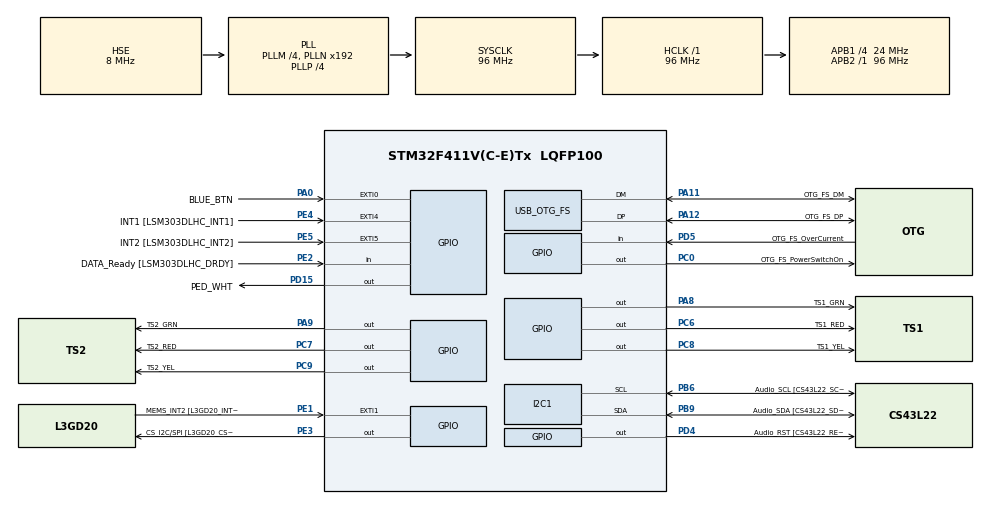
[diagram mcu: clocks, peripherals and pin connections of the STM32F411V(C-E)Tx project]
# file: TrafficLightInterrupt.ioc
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FREERTOS.Tasks01=defaultTask,0,128,StartDefaultTask,Default,NULL
FREERTOS.configTIMER_TASK_PRIORITY=5
FREERTOS.configUSE_TIMERS=1
Mcu.Family=STM32F4
Mcu.Name=STM32F411V(C-E)Tx
Mcu.Package=LQFP100
NVIC.EXTI0_IRQn=true\:10\:0\:true\:false\:true\:true\:true
NVIC.OTG_FS_IRQn=true\:5\:0\:false\:false\:true\:true\:true
NVIC.PriorityGroup=NVIC_PRIORITYGROUP_4
NVIC.TIM1_UP_TIM10_IRQn=true\:0\:0\:false\:false\:true\:false\:false
NVIC.TimeBase=TIM1_UP_TIM10_IRQn
NVIC.TimeBaseIP=TIM1
PA0-WKUP.GPIO_Label=BLUE_BTN
PA0-WKUP.GPIO_ModeDefaultEXTI=GPIO_MODE_IT_RISING
PA0-WKUP.Signal=GPXTI0
PA10.GPIO_Label=OTG_FS_ID
PA10.Signal=USB_OTG_FS_ID
PA11.GPIO_Label=OTG_FS_DM
PA11.Mode=Host_Only
PA11.Signal=USB_OTG_FS_DM
PA12.GPIO_Label=OTG_FS_DP
PA12.Mode=Host_Only
PA12.Signal=USB_OTG_FS_DP
PA13.GPIO_Label=SWDIO
PA13.Mode=Serial_Wire
PA13.Signal=SYS_JTMS-SWDIO
PA14.GPIO_Label=SWCLK
PA14.Mode=Serial_Wire
PA14.Signal=SYS_JTCK-SWCLK
PA8.GPIO_Label=TS1_GRN
PA8.Signal=GPIO_Output
PA9.GPIO_Label=TS2_GRN
PA9.Signal=GPIO_Output
PB10.GPIO_Label=CLK_IN [MP45DT02_CLK]
PB10.Signal=I2S2_CK
PB3.GPIO_Label=SWO
PB3.Signal=SYS_JTDO-SWO
PB6.GPIO_Label=Audio_SCL [CS43L22_SCL]
PB6.GPIO_Mode=GPIO_MODE_AF_OD
PB6.GPIO_PuPd=GPIO_NOPULL
PB6.GPIO_Speed=GPIO_SPEED_FREQ_LOW
PB6.Mode=I2C
PB6.Signal=I2C1_SCL
PB9.GPIO_Label=Audio_SDA [CS43L22_SDA]
PB9.GPIO_Mode=GPIO_MODE_AF_OD
PB9.GPIO_PuPd=GPIO_NOPULL
PB9.GPIO_Speed=GPIO_SPEED_FREQ_LOW
PB9.Mode=I2C
PB9.Signal=I2C1_SDA
PC0.GPIO_Label=OTG_FS_PowerSwitchOn
PC0.PinState=GPIO_PIN_SET
PC0.Signal=GPIO_Output
PC10.GPIO_Label=I2S3_SCK [CS43L22_SCLK]
PC10.GPIO_Mode=GPIO_MODE_AF_PP
PC10.GPIO_PuPd=GPIO_NOPULL
PC10.GPIO_Speed=GPIO_SPEED_FREQ_LOW
PC10.Signal=I2S3_CK
PC12.GPIO_Label=I2S3_SD [CS43L22_SDIN]
PC12.GPIO_Mode=GPIO_MODE_AF_PP
PC12.GPIO_PuPd=GPIO_NOPULL
PC12.GPIO_Speed=GPIO_SPEED_FREQ_LOW
PC12.Signal=I2S3_SD
PC14-OSC32_IN.GPIO_Label=PC14-OSC32_IN
PC14-OSC32_IN.Mode=LSE-External-Oscillator
PC14-OSC32_IN.Signal=RCC_OSC32_IN
PC15-OSC32_OUT.GPIO_Label=PC15-OSC32_OUT
PC15-OSC32_OUT.Mode=LSE-External-Oscillator
PC15-OSC32_OUT.Signal=RCC_OSC32_OUT
PC3.GPIO_Label=PDM_OUT [MP45DT02_DOUT]
PC3.Signal=I2S2_SD
PC6.GPIO_Label=TS1_RED
PC6.Signal=GPIO_Output
PC7.GPIO_Label=TS2_RED
PC7.Signal=GPIO_Output
PC8.GPIO_Label=TS1_YEL
PC8.Signal=GPIO_Output
PC9.GPIO_Label=TS2_YEL
PC9.Signal=GPIO_Output
PD15.GPIO_Label=PED_WHT
PD15.Signal=GPIO_Output
PD4.GPIO_Label=Audio_RST [CS43L22_RESET]
PD4.Signal=GPIO_Output
PD5.GPIO_Label=OTG_FS_OverCurrent
PD5.Signal=GPIO_Input
PE1.GPIO_Label=MEMS_INT2 [L3GD20_INT2]
PE1.GPIO_ModeDefaultEXTI=GPIO_MODE_EVT_RISING
PE1.Signal=GPXTI1
PE2.GPIO_Label=DATA_Ready [LSM303DLHC_DRDY]
PE2.Signal=GPIO_Input
PE3.GPIO_Label=CS_I2C/SPI [L3GD20_CS_I2C/SPI]
PE3.Signal=GPIO_Output
PE4.GPIO_Label=INT1 [LSM303DLHC_INT1]
PE4.GPIO_ModeDefaultEXTI=GPIO_MODE_EVT_RISING
PE4.Signal=GPXTI4
PE5.GPIO_Label=INT2 [LSM303DLHC_INT2]
PE5.GPIO_ModeDefaultEXTI=GPIO_MODE_EVT_RISING
PE5.Signal=GPXTI5
PH0\ -\ OSC_IN.GPIO_Label=PH0-OSC_IN
PH0\ -\ OSC_IN.Mode=HSE-External-Oscillator
PH0\ -\ OSC_IN.Signal=RCC_OSC_IN
PH1\ -\ OSC_OUT.GPIO_Label=PH1-OSC_OUT
PH1\ -\ OSC_OUT.Mode=HSE-External-Oscillator
PH1\ -\ OSC_OUT.Signal=RCC_OSC_OUT
ProjectManager.HeapSize=0x200
ProjectManager.StackSize=0x400
ProjectManager.TargetToolchain=TrueSTUDIO
RCC.48MHZClocksFreq_Value=48000000
RCC.AHBFreq_Value=96000000
RCC.APB1CLKDivider=RCC_HCLK_DIV4
RCC.APB1Freq_Value=24000000
RCC.APB1TimFreq_Value=48000000
RCC.APB2Freq_Value=96000000
RCC.APB2TimFreq_Value=96000000
RCC.CortexFreq_Value=96000000
RCC.HCLKFreq_Value=96000000
RCC.HSE_VALUE=8000000
RCC.HSI_VALUE=16000000
RCC.PLLI2SM=5
RCC.PLLI2SN=200
RCC.PLLM=4
RCC.PLLP=RCC_PLLP_DIV4
RCC.PLLQ=8
RCC.SYSCLKFreq_VALUE=96000000
RCC.SYSCLKSource=RCC_SYSCLKSOURCE_PLLCLK
RCC.VCOOutputFreq_Value=384000000
USB_OTG_FS.VirtualMode=Host_Only
USB_OTG_FS.phy_itface=HCD_PHY_EMBEDDED
VP_FREERTOS_VS_ENABLE.Mode=Enabled
VP_SYS_VS_tim1.Mode=TIM1
board=32F411EDISCOVERY

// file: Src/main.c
/**
  ******************************************************************************
  * @file           : main.c
  * @brief          : Main program body
  ******************************************************************************
  * This notice applies to any and all portions of this file
  * that are not between comment pairs USER CODE BEGIN and
  * USER CODE END. Other portions of this file, whether
  * inserted by the user or by software development tools
  * are owned by their respective copyright owners.
  *
  * Copyright (c) 2018 STMicroelectronics International N.V.
  * All rights reserved.
  *
  * Redistribution and use in source and binary forms, with or without
  * modification, are permitted, provided that the following conditions are met:
  *
  * 1. Redistribution of source code must retain the above copyright notice,
  *    this list of conditions and the following disclaimer.
  * 2. Redistributions in binary form must reproduce the above copyright notice,
  *    this list of conditions and the following disclaimer in the documentation
  *    and/or other materials provided with the distribution.
  * 3. Neither the name of STMicroelectronics nor the names of other
  *    contributors to this software may be used to endorse or promote products
  *    derived from this software without specific written permission.
  * 4. This software, including modifications and/or derivative works of this
  *    software, must execute solely and exclusively on microcontroller or
  *    microprocessor devices manufactured by or for STMicroelectronics.
  * 5. Redistribution and use of this software other than as permitted under
  *    this license is void and will automatically terminate your rights under
  *    this license.
  *
  * THIS SOFTWARE IS PROVIDED BY STMICROELECTRONICS AND CONTRIBUTORS "AS IS"
  * AND ANY EXPRESS, IMPLIED OR STATUTORY WARRANTIES, INCLUDING, BUT NOT
  * LIMITED TO, THE IMPLIED WARRANTIES OF MERCHANTABILITY, FITNESS FOR A
  * PARTICULAR PURPOSE AND NON-INFRINGEMENT OF THIRD PARTY INTELLECTUAL PROPERTY
  * RIGHTS ARE DISCLAIMED TO THE FULLEST EXTENT PERMITTED BY LAW. IN NO EVENT
  * SHALL STMICROELECTRONICS OR CONTRIBUTORS BE LIABLE FOR ANY DIRECT, INDIRECT,
  * INCIDENTAL, SPECIAL, EXEMPLARY, OR CONSEQUENTIAL DAMAGES (INCLUDING, BUT NOT
  * LIMITED TO, PROCUREMENT OF SUBSTITUTE GOODS OR SERVICES; LOSS OF USE, DATA,
  * OR PROFITS; OR BUSINESS INTERRUPTION) HOWEVER CAUSED AND ON ANY THEORY OF
  * LIABILITY, WHETHER IN CONTRACT, STRICT LIABILITY, OR TORT (INCLUDING
  * NEGLIGENCE OR OTHERWISE) ARISING IN ANY WAY OUT OF THE USE OF THIS SOFTWARE,
  * EVEN IF ADVISED OF THE POSSIBILITY OF SUCH DAMAGE.
  *
  ******************************************************************************
  */
#include "main.h"
#include "stm32f4xx_hal.h"
#include "cmsis_os.h"

I2C_HandleTypeDef hi2c1;

HCD_HandleTypeDef hhcd_USB_OTG_FS;

osThreadId defaultTaskHandle;

/* USER CODE BEGIN PV */
/* Private variables ---------------------------------------------------------*/

/* USER CODE END PV */

void SystemClock_Config(void);
static void MX_GPIO_Init(void);
static void MX_I2C1_Init(void);
static void MX_USB_OTG_FS_HCD_Init(void);
void StartDefaultTask(void const * argument);

/* USER CODE BEGIN PFP */
/* Private function prototypes -----------------------------------------------*/
static void prvIntTest(void *p);
static void prvIntPedestrian(void *p);
static void prvTaskA(void *p);
static void prvTaskB(void *p);
static void prvDebTimer( TimerHandle_t xTimer );
/* USER CODE END PFP */

/* USER CODE BEGIN 0 */
TaskHandle_t taskA = NULL;
TaskHandle_t taskB = NULL;
TaskHandle_t isr_test = NULL;
TaskHandle_t isr_ped = NULL;
TimerHandle_t debounce_tim = NULL;
SemaphoreHandle_t isr = NULL;
SemaphoreHandle_t lock = NULL;
SemaphoreHandle_t s1 = NULL;
SemaphoreHandle_t s2 = NULL;
BaseType_t debounce_bool = pdFALSE;
BaseType_t in_task = pdFALSE;
BaseType_t ped_request = pdFALSE;
/* USER CODE END 0 */

int main(void)
{

  /* MCU Configuration----------------------------------------------------------*/

  /* Reset of all peripherals, Initializes the Flash interface and the Systick. */
  HAL_Init();

  /* Configure the system clock */
  SystemClock_Config();

  /* Initialize all configured peripherals */
  MX_GPIO_Init();
  MX_I2C1_Init();
  MX_USB_OTG_FS_HCD_Init();
  /* USER CODE BEGIN 2 */
  xTaskCreate(prvIntPedestrian, "PedestrianBlinker", configMINIMAL_STACK_SIZE, NULL, 5, &isr_ped);
  xTaskCreate(prvIntTest, "InterruptTest", configMINIMAL_STACK_SIZE, NULL, 5, &isr_test);
  xTaskCreate(prvTaskA, "TaskA", configMINIMAL_STACK_SIZE, NULL, 2, &taskA);
  xTaskCreate(prvTaskB, "TaskB", configMINIMAL_STACK_SIZE, NULL, 2, &taskB);

  vTaskSuspend(isr_test);

  HAL_GPIO_WritePin(TS2_RED_GPIO_Port, TS2_RED_Pin, GPIO_PIN_SET);
  HAL_GPIO_WritePin(TS1_GRN_GPIO_Port, TS1_GRN_Pin, GPIO_PIN_SET);
  /* USER CODE END 2 */

  /* USER CODE BEGIN RTOS_SEMAPHORES */
  /* add semaphores, ... */
  isr = xSemaphoreCreateBinary();
  lock = xSemaphoreCreateBinary();
  s1 = xSemaphoreCreateBinary();
  s2 = xSemaphoreCreateBinary();

  xSemaphoreGive(lock);
  xSemaphoreGive(s1);
  /* USER CODE END RTOS_SEMAPHORES */

  /* USER CODE BEGIN RTOS_TIMERS */
  /* start timers, add new ones, ... */
  debounce_tim = xTimerCreate("deb", pdMS_TO_TICKS(100), (UBaseType_t) pdFALSE, 0, prvDebTimer);
  /* USER CODE END RTOS_TIMERS */

  /* Create the thread(s) */
  /* definition and creation of defaultTask */
  osThreadDef(defaultTask, StartDefaultTask, osPriorityNormal, 0, 128);
  defaultTaskHandle = osThreadCreate(osThread(defaultTask), NULL);

  /* Start scheduler */
  osKernelStart();

  /* We should never get here as control is now taken by the scheduler */

  /* Infinite loop */
  while (1)
  {

  }

}

void SystemClock_Config(void)
{

  RCC_OscInitTypeDef RCC_OscInitStruct;
  RCC_ClkInitTypeDef RCC_ClkInitStruct;

    /**Configure the main internal regulator output voltage
    */
  __HAL_RCC_PWR_CLK_ENABLE();

  __HAL_PWR_VOLTAGESCALING_CONFIG(PWR_REGULATOR_VOLTAGE_SCALE1);

    /**Initializes the CPU, AHB and APB busses clocks
    */
  RCC_OscInitStruct.OscillatorType = RCC_OSCILLATORTYPE_HSE;
  RCC_OscInitStruct.HSEState = RCC_HSE_ON;
  RCC_OscInitStruct.PLL.PLLState = RCC_PLL_ON;
  RCC_OscInitStruct.PLL.PLLSource = RCC_PLLSOURCE_HSE;
  RCC_OscInitStruct.PLL.PLLM = 4;
  RCC_OscInitStruct.PLL.PLLN = 192;
  RCC_OscInitStruct.PLL.PLLP = RCC_PLLP_DIV4;
  RCC_OscInitStruct.PLL.PLLQ = 8;
  if (HAL_RCC_OscConfig(&RCC_OscInitStruct) != HAL_OK)
  {
    _Error_Handler(__FILE__, __LINE__);
  }

    /**Initializes the CPU, AHB and APB busses clocks
    */
  RCC_ClkInitStruct.ClockType = RCC_CLOCKTYPE_HCLK|RCC_CLOCKTYPE_SYSCLK
                              |RCC_CLOCKTYPE_PCLK1|RCC_CLOCKTYPE_PCLK2;
  RCC_ClkInitStruct.SYSCLKSource = RCC_SYSCLKSOURCE_PLLCLK;
  RCC_ClkInitStruct.AHBCLKDivider = RCC_SYSCLK_DIV1;
  RCC_ClkInitStruct.APB1CLKDivider = RCC_HCLK_DIV4;
  RCC_ClkInitStruct.APB2CLKDivider = RCC_HCLK_DIV1;

  if (HAL_RCC_ClockConfig(&RCC_ClkInitStruct, FLASH_LATENCY_3) != HAL_OK)
  {
    _Error_Handler(__FILE__, __LINE__);
  }

    /**Configure the Systick interrupt time
    */
  HAL_SYSTICK_Config(HAL_RCC_GetHCLKFreq()/1000);

    /**Configure the Systick
    */
  HAL_SYSTICK_CLKSourceConfig(SYSTICK_CLKSOURCE_HCLK);

  /* SysTick_IRQn interrupt configuration */
  HAL_NVIC_SetPriority(SysTick_IRQn, 15, 0);
}

/* I2C1 init function */
static void MX_I2C1_Init(void)
{

  hi2c1.Instance = I2C1;
  hi2c1.Init.ClockSpeed = 100000;
  hi2c1.Init.DutyCycle = I2C_DUTYCYCLE_2;
  hi2c1.Init.OwnAddress1 = 0;
  hi2c1.Init.AddressingMode = I2C_ADDRESSINGMODE_7BIT;
  hi2c1.Init.DualAddressMode = I2C_DUALADDRESS_DISABLE;
  hi2c1.Init.OwnAddress2 = 0;
  hi2c1.Init.GeneralCallMode = I2C_GENERALCALL_DISABLE;
  hi2c1.Init.NoStretchMode = I2C_NOSTRETCH_DISABLE;
  if (HAL_I2C_Init(&hi2c1) != HAL_OK)
  {
    _Error_Handler(__FILE__, __LINE__);
  }

}

/* USB_OTG_FS init function */
static void MX_USB_OTG_FS_HCD_Init(void)
{

  hhcd_USB_OTG_FS.Instance = USB_OTG_FS;
  hhcd_USB_OTG_FS.Init.Host_channels = 8;
  hhcd_USB_OTG_FS.Init.speed = HCD_SPEED_FULL;
  hhcd_USB_OTG_FS.Init.dma_enable = DISABLE;
  hhcd_USB_OTG_FS.Init.phy_itface = HCD_PHY_EMBEDDED;
  hhcd_USB_OTG_FS.Init.Sof_enable = DISABLE;
  if (HAL_HCD_Init(&hhcd_USB_OTG_FS) != HAL_OK)
  {
    _Error_Handler(__FILE__, __LINE__);
  }

}

/** Configure pins as
        * Analog
        * Input
        * Output
        * EVENT_OUT
        * EXTI
     PC3   ------> I2S2_SD
     PB10   ------> I2S2_CK
     PC10   ------> I2S3_CK
     PC12   ------> I2S3_SD
*/
static void MX_GPIO_Init(void)
{

  GPIO_InitTypeDef GPIO_InitStruct;

  /* GPIO Ports Clock Enable */
  __HAL_RCC_GPIOE_CLK_ENABLE();
  __HAL_RCC_GPIOC_CLK_ENABLE();
  __HAL_RCC_GPIOH_CLK_ENABLE();
  __HAL_RCC_GPIOA_CLK_ENABLE();
  __HAL_RCC_GPIOB_CLK_ENABLE();
  __HAL_RCC_GPIOD_CLK_ENABLE();

  /*Configure GPIO pin Output Level */
  HAL_GPIO_WritePin(CS_I2C_SPI_GPIO_Port, CS_I2C_SPI_Pin, GPIO_PIN_RESET);

  /*Configure GPIO pin Output Level */
  HAL_GPIO_WritePin(OTG_FS_PowerSwitchOn_GPIO_Port, OTG_FS_PowerSwitchOn_Pin, GPIO_PIN_SET);

  /*Configure GPIO pin Output Level */
  HAL_GPIO_WritePin(GPIOD, PED_WHT_Pin|Audio_RST_Pin, GPIO_PIN_RESET);

  /*Configure GPIO pin Output Level */
  HAL_GPIO_WritePin(GPIOC, TS1_RED_Pin|TS2_RED_Pin|TS1_YEL_Pin|TS2_YEL_Pin, GPIO_PIN_RESET);

  /*Configure GPIO pin Output Level */
  HAL_GPIO_WritePin(GPIOA, TS1_GRN_Pin|TS2_GRN_Pin, GPIO_PIN_RESET);

  /*Configure GPIO pin : DATA_Ready_Pin */
  GPIO_InitStruct.Pin = DATA_Ready_Pin;
  GPIO_InitStruct.Mode = GPIO_MODE_INPUT;
  GPIO_InitStruct.Pull = GPIO_NOPULL;
  HAL_GPIO_Init(DATA_Ready_GPIO_Port, &GPIO_InitStruct);

  /*Configure GPIO pin : CS_I2C_SPI_Pin */
  GPIO_InitStruct.Pin = CS_I2C_SPI_Pin;
  GPIO_InitStruct.Mode = GPIO_MODE_OUTPUT_PP;
  GPIO_InitStruct.Pull = GPIO_NOPULL;
  GPIO_InitStruct.Speed = GPIO_SPEED_FREQ_LOW;
  HAL_GPIO_Init(CS_I2C_SPI_GPIO_Port, &GPIO_InitStruct);

  /*Configure GPIO pins : INT1_Pin INT2_Pin MEMS_INT2_Pin */
  GPIO_InitStruct.Pin = INT1_Pin|INT2_Pin|MEMS_INT2_Pin;
  GPIO_InitStruct.Mode = GPIO_MODE_EVT_RISING;
  GPIO_InitStruct.Pull = GPIO_NOPULL;
  HAL_GPIO_Init(GPIOE, &GPIO_InitStruct);

  /*Configure GPIO pins : OTG_FS_PowerSwitchOn_Pin TS1_RED_Pin TS2_RED_Pin TS1_YEL_Pin
                           TS2_YEL_Pin */
  GPIO_InitStruct.Pin = OTG_FS_PowerSwitchOn_Pin|TS1_RED_Pin|TS2_RED_Pin|TS1_YEL_Pin
                          |TS2_YEL_Pin;
  GPIO_InitStruct.Mode = GPIO_MODE_OUTPUT_PP;
  GPIO_InitStruct.Pull = GPIO_NOPULL;
  GPIO_InitStruct.Speed = GPIO_SPEED_FREQ_LOW;
  HAL_GPIO_Init(GPIOC, &GPIO_InitStruct);

  /*Configure GPIO pin : PDM_OUT_Pin */
  GPIO_InitStruct.Pin = PDM_OUT_Pin;
  GPIO_InitStruct.Mode = GPIO_MODE_AF_PP;
  GPIO_InitStruct.Pull = GPIO_NOPULL;
  GPIO_InitStruct.Speed = GPIO_SPEED_FREQ_LOW;
  GPIO_InitStruct.Alternate = GPIO_AF5_SPI2;
  HAL_GPIO_Init(PDM_OUT_GPIO_Port, &GPIO_InitStruct);

  /*Configure GPIO pin : BLUE_BTN_Pin */
  GPIO_InitStruct.Pin = BLUE_BTN_Pin;
  GPIO_InitStruct.Mode = GPIO_MODE_IT_RISING;
  GPIO_InitStruct.Pull = GPIO_NOPULL;
  HAL_GPIO_Init(BLUE_BTN_GPIO_Port, &GPIO_InitStruct);

  /*Configure GPIO pin : CLK_IN_Pin */
  GPIO_InitStruct.Pin = CLK_IN_Pin;
  GPIO_InitStruct.Mode = GPIO_MODE_AF_PP;
  GPIO_InitStruct.Pull = GPIO_NOPULL;
  GPIO_InitStruct.Speed = GPIO_SPEED_FREQ_LOW;
  GPIO_InitStruct.Alternate = GPIO_AF5_SPI2;
  HAL_GPIO_Init(CLK_IN_GPIO_Port, &GPIO_InitStruct);

  /*Configure GPIO pins : PED_WHT_Pin Audio_RST_Pin */
  GPIO_InitStruct.Pin = PED_WHT_Pin|Audio_RST_Pin;
  GPIO_InitStruct.Mode = GPIO_MODE_OUTPUT_PP;
  GPIO_InitStruct.Pull = GPIO_NOPULL;
  GPIO_InitStruct.Speed = GPIO_SPEED_FREQ_LOW;
  HAL_GPIO_Init(GPIOD, &GPIO_InitStruct);

  /*Configure GPIO pins : TS1_GRN_Pin TS2_GRN_Pin */
  GPIO_InitStruct.Pin = TS1_GRN_Pin|TS2_GRN_Pin;
  GPIO_InitStruct.Mode = GPIO_MODE_OUTPUT_PP;
  GPIO_InitStruct.Pull = GPIO_NOPULL;
  GPIO_InitStruct.Speed = GPIO_SPEED_FREQ_LOW;
  HAL_GPIO_Init(GPIOA, &GPIO_InitStruct);

  /*Configure GPIO pins : I2S3_SCK_Pin I2S3_SD_Pin */
  GPIO_InitStruct.Pin = I2S3_SCK_Pin|I2S3_SD_Pin;
  GPIO_InitStruct.Mode = GPIO_MODE_AF_PP;
  GPIO_InitStruct.Pull = GPIO_NOPULL;
  GPIO_InitStruct.Speed = GPIO_SPEED_FREQ_LOW;
  GPIO_InitStruct.Alternate = GPIO_AF6_SPI3;
  HAL_GPIO_Init(GPIOC, &GPIO_InitStruct);

  /*Configure GPIO pin : OTG_FS_OverCurrent_Pin */
  GPIO_InitStruct.Pin = OTG_FS_OverCurrent_Pin;
  GPIO_InitStruct.Mode = GPIO_MODE_INPUT;
  GPIO_InitStruct.Pull = GPIO_NOPULL;
  HAL_GPIO_Init(OTG_FS_OverCurrent_GPIO_Port, &GPIO_InitStruct);

  /* EXTI interrupt init*/
  HAL_NVIC_SetPriority(EXTI0_IRQn, 10, 0);
  HAL_NVIC_EnableIRQ(EXTI0_IRQn);

}

/* USER CODE BEGIN 4 */

static void prvIntPedestrian(void *p)
{
	(void) p;

	while(1)
	{
		if(xSemaphoreTake(isr, portMAX_DELAY))
		{
			ped_request = pdTRUE;
		}
	}
}

static void prvIntTest(void *p)
{
	(void) p;

	while(1)
	{
		if(xSemaphoreTake(isr, portMAX_DELAY))
		{
			vTaskSuspend(taskA);
			vTaskSuspend(taskB);

			//flash LEDs
			HAL_GPIO_WritePin(TS2_YEL_GPIO_Port, TS2_YEL_Pin, GPIO_PIN_RESET);
			HAL_GPIO_WritePin(TS1_YEL_GPIO_Port, TS1_YEL_Pin, GPIO_PIN_RESET);
			HAL_GPIO_WritePin(TS1_GRN_GPIO_Port, TS1_GRN_Pin, GPIO_PIN_RESET);
			HAL_GPIO_WritePin(TS2_GRN_GPIO_Port, TS2_GRN_Pin, GPIO_PIN_RESET);
			HAL_GPIO_WritePin(TS1_RED_GPIO_Port, TS1_RED_Pin, GPIO_PIN_RESET);
			HAL_GPIO_WritePin(TS2_RED_GPIO_Port, TS2_RED_Pin, GPIO_PIN_RESET);
			HAL_GPIO_WritePin(PED_WHT_GPIO_Port, PED_WHT_Pin, GPIO_PIN_SET);

			vTaskDelay(pdMS_TO_TICKS(500));
			HAL_GPIO_TogglePin(PED_WHT_GPIO_Port, PED_WHT_Pin);
			vTaskDelay(pdMS_TO_TICKS(500));
			HAL_GPIO_TogglePin(PED_WHT_GPIO_Port, PED_WHT_Pin);
			vTaskDelay(pdMS_TO_TICKS(500));
			HAL_GPIO_TogglePin(PED_WHT_GPIO_Port, PED_WHT_Pin);
			vTaskDelay(pdMS_TO_TICKS(500));
			HAL_GPIO_WritePin(PED_WHT_GPIO_Port, PED_WHT_Pin, GPIO_PIN_RESET);

			in_task = pdFALSE;
			vTaskResume(taskB);
			vTaskResume(taskA);
		}
	}
}

//Light set 1
static void prvTaskA(void *p)
{
	(void) p;

	while(1)
	{
		if(xSemaphoreTake(s1, portMAX_DELAY))
		{
			if(xSemaphoreTake(lock, portMAX_DELAY))
			{
				//run light set 1

				//grn on 4 seconds
				//yellow on 1.5 seconds
				//red on 1 second, then task 2
				HAL_GPIO_WritePin(TS1_RED_GPIO_Port, TS1_RED_Pin, GPIO_PIN_RESET);
				HAL_GPIO_WritePin(TS1_GRN_GPIO_Port, TS1_GRN_Pin, GPIO_PIN_SET);
				vTaskDelay(pdMS_TO_TICKS(2000));
				if (ped_request == pdTRUE) 	// if pedetrian pushed, blink wht 2 seconds after
				{
					HAL_GPIO_WritePin(PED_WHT_GPIO_Port, PED_WHT_Pin, GPIO_PIN_SET);
					ped_request = pdFALSE;
					in_task = pdFALSE;
				}
				vTaskDelay(pdMS_TO_TICKS(2000));
				HAL_GPIO_WritePin(TS1_GRN_GPIO_Port, TS1_GRN_Pin, GPIO_PIN_RESET);
				HAL_GPIO_WritePin(PED_WHT_GPIO_Port, PED_WHT_Pin, GPIO_PIN_RESET);
				HAL_GPIO_WritePin(TS1_YEL_GPIO_Port, TS1_YEL_Pin, GPIO_PIN_SET);
				vTaskDelay(pdMS_TO_TICKS(1500));
				HAL_GPIO_WritePin(TS1_YEL_GPIO_Port, TS1_YEL_Pin, GPIO_PIN_RESET);
				HAL_GPIO_WritePin(TS1_RED_GPIO_Port, TS1_RED_Pin, GPIO_PIN_SET);
				vTaskDelay(pdMS_TO_TICKS(1000));

				xSemaphoreGive(lock);
				xSemaphoreGive(s2);
			}
		}
	}
}

//Light set 2
static void prvTaskB(void *p)
{
	(void) p;

	while(1)
	{
		if(xSemaphoreTake(s2, portMAX_DELAY))
		{
			if(xSemaphoreTake(lock, portMAX_DELAY))
			{
				//run light set 2
				HAL_GPIO_WritePin(TS2_RED_GPIO_Port, TS2_RED_Pin, GPIO_PIN_RESET);
				HAL_GPIO_WritePin(TS2_GRN_GPIO_Port, TS2_GRN_Pin, GPIO_PIN_SET);
				vTaskDelay(pdMS_TO_TICKS(2000));
				if (ped_request == pdTRUE) 	// if pedetrian pushed, blink wht 2 seconds after
				{
					HAL_GPIO_WritePin(PED_WHT_GPIO_Port, PED_WHT_Pin, GPIO_PIN_SET);
					ped_request = pdFALSE;
					in_task = pdFALSE;
				}
				vTaskDelay(pdMS_TO_TICKS(2000));
				HAL_GPIO_WritePin(TS2_GRN_GPIO_Port, TS2_GRN_Pin, GPIO_PIN_RESET);
				HAL_GPIO_WritePin(PED_WHT_GPIO_Port, PED_WHT_Pin, GPIO_PIN_RESET);
				HAL_GPIO_WritePin(TS2_YEL_GPIO_Port, TS2_YEL_Pin, GPIO_PIN_SET);
				vTaskDelay(pdMS_TO_TICKS(1500));
				HAL_GPIO_WritePin(TS2_YEL_GPIO_Port, TS2_YEL_Pin, GPIO_PIN_RESET);
				HAL_GPIO_WritePin(TS2_RED_GPIO_Port, TS2_RED_Pin, GPIO_PIN_SET);
				vTaskDelay(pdMS_TO_TICKS(1000));

				xSemaphoreGive(lock);
				xSemaphoreGive(s1);
			}
		}
	}
}

static void prvDebTimer( TimerHandle_t xTimer )
{
	(void) xTimer;

	if (debounce_bool != pdTRUE)
		debounce_bool = pdTRUE;
}

/* USER CODE END 4 */

/* StartDefaultTask function */
void StartDefaultTask(void const * argument)
{

  for(;;)
  {
    osDelay(1);
  }
}

void HAL_TIM_PeriodElapsedCallback(TIM_HandleTypeDef *htim)
{
  if (htim->Instance == TIM1) {
    HAL_IncTick();
  }
}

void _Error_Handler(char *file, int line)
{
  while(1)
  {
  }
}

/************************ (C) COPYRIGHT STMicroelectronics *****END OF FILE****/
